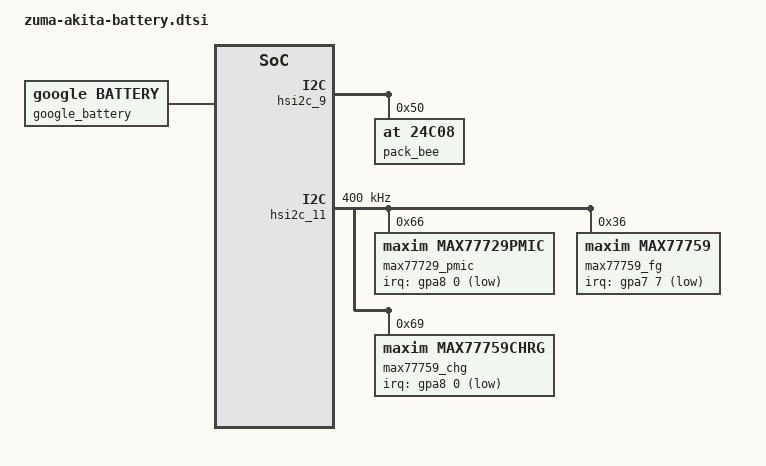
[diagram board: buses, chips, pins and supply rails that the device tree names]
// SPDX-License-Identifier: GPL-2.0-only
/*
 * Battery device tree entries specific to akita
 *
 * Copyright 2022 Google LLC
 *
 */

#include <dt-bindings/interrupt-controller/irq.h>

/ {
	fragment@battery {
		target-path = "/";
		__overlay__ {

			google_battery: google,battery {
				status = "okay";
				compatible = "google,battery";
				google,fg-psy-name = "maxfg";
				google,chg-battery-capacity = <4404>;

				/* charge table */
				google,chg-temp-limits = <0 100 200 420 460 480 550>;
				google,chg-cv-limits = <4200000 4250000 4300000 4350000 4480000>;
				google,chg-cc-limits = <
					 30   10   10   0    0
					 50   30   30  30   30
					100   70   70  50   50
					 80   50   50  50   50
					 50   50   50  50    0
					 30   30    0   0    0
				>;

				google,aact-cv-limits = <4200000 4250000 4300000 4350000 4480000>;
				google,aact-temp-limits = <0 100 200 420 460 480 550>;
				google,chg-aact-ecc = <0 300 1000>;
				google,aact-cc-limits = <
					 30   10   10   0    0
					 50   30   30  30   30
					100   70   70  50   50
					 80   50   50  50   50
					 50   50   50  50    0
					 30   30    0   0    0
					 30   10   10   0    0
					 50   30   30  30   30
					 95   70   70  50   50
					 80   50   50  50   50
					 50   50   50  50    0
					 30   30    0   0    0
					 30   10   10   0    0
					 50   30   30  30   30
					 90   70   70  50   50
					 80   50   50  50   50
					 50   50   50  50    0
					 30   30    0   0    0
				>;

				google,ttf-temp-idx= <2>;
				google,ttf-adapter = <1800>;
				google,ttf-soc-table =  <64 72 85 91  95  100>;
				google,ttf-elap-table = <47 63 81 140 232 90>;
				google,ttf-tier-table = <0 53 70>;

				/* IRDrop Compensation */
				google,fv-uv-resolution = <10000>;
				/* NOTE: high value for DC charging */
				google,fv-uv-margin-dpct = <1025>;
				/* tier switch */
				google,cv-range-accuracy = <20000>;
				google,cv-otv-margin = <12000>;
				google,cv-debounce-cnt = <3>;
				google,cv-tier-ov-cnt = <10>;
				google,cv-tier-switch-cnt = <3>;

				google,eeprom-pairing;

				/* rest charging */
				google,chg-rest-rate = <15>;
				google,chg-rest-soc = <80>;
				/* TRICKLE-DEFEND threshold */
				google,bd-trickle-recharge-soc = <80>;
				/* Disable TRICKLE-DEFEND, b/259428308 */
				/* google,bd-trickle-enable; */
				/* Battery virtual sensor */
				google,batt-vs-tz-name = "batt_vs";

				/* record over temperature time */
				google,temp-record-thr = <300 350 400>;
				google,soc-record-thr = <90 90 95>;

				google,bhi-status-marginal = <79>;
				google,bhi-status-need-rep = <79>;
				google,bhi-cycle-grace = <100>;
				google,bhi-algo-ver = <3>;

				#thermal-sensor-cells = <0>;
				#cooling-cells = <2>;
			};

			google_bms {
				nvmem = <&pack_bee>;
				nvmem-names = "bms-pack-eeprom";
				/* pack eeprom is available only with P20+ batteries */
				google,bee-name = "bms-pack-eeprom";
			};

		};
	};
};

&pinctrl_0 {
/* [MAX77759: FG_INTB] > FG_INT_L > [XEINT_21 : SC59845XWE] */
	if_pmic_fg_irq: if-pmic-fg-irq {
		samsung,pins = "gpa7-7"; /* XEINT_21 */
		samsung,pin-function = <EXYNOS_PIN_FUNC_EINT>;
		samsung,pin-pud = <EXYNOS_PIN_PULL_UP>;
		samsung,pin-drv = <ZUMA_PIN_DRV_X1>;
	};
};

&pinctrl_0 {
/* [MAX77729FEWN : INTB] > IF_PMIC_IRQ_L > [XEINT_22 : SC59845XWE] */
	if_pmic_irq: if-pmic-irq {
		samsung,pins = "gpa8-0";
		samsung,pin-function = <EXYNOS_PIN_FUNC_EINT>;
		samsung,pin-pud = <EXYNOS_PIN_PULL_UP>;
		samsung,pin-drv = <ZUMA_PIN_DRV_X1>;
	};

};

&hsi2c11_bus {
	samsung,pins = "gpp21-0", "gpp21-1";
	samsung,pin-pud = <EXYNOS_PIN_PULL_NONE>;
	samsung,pin-con-pdn = <EXYNOS_PIN_PDN_PREV>;
	samsung,pin-pud-pdn = <EXYNOS_PIN_PULL_NONE>;
};

&hsi2c_9 {
	#address-cells = <1>;
	#size-cells = <0>;
	status = "okay";

	pinctrl-names = "default";
	pinctrl-0 = <&hsi2c9_bus>;

	pack_bee: m24c08@50 {
		status = "okay";
		compatible = "at,24c08";

		reg = <0x50>;
	};
};

&hsi2c_11 {

	#address-cells = <1>;
	#size-cells = <0>;
	status = "okay";
	clock-frequency = <400000>;

	/* also as max77759 pmic  */
	max77729_pmic:max77729pmic@66 {
		status = "okay";
		compatible = "maxim,max77729pmic";
		reg = <0x66>;

		pinctrl-names = "default";
		pinctrl-0 = <&if_pmic_irq>;
		max777x9,irq-gpio = <&gpa8 0 GPIO_ACTIVE_LOW>;

		max77759,max_m5 = <&max77759_fg>;

		max777x9_gpio: max777x9_gpio {
			gpio-controller;
			#gpio-cells = <2>;
			ngpios = <6>;

			interrupt-parent = <&gpa8>;
			interrupt-controller;
			#interrupt-cells = <2>;
			interrupts = <5 IRQ_TYPE_NONE>,
				     <6 IRQ_TYPE_NONE>;
		};
	};

	max77759_fg:max77759fg@36 {
		status = "okay";
		compatible = "maxim,max77759";
		reg = <0x36>;

		/* FG_INT_L -> XEINT_21 */
		pinctrl-names = "default";
		pinctrl-0 = <&if_pmic_fg_irq>;
		maxim,irq-gpio = <&gpa7 7 GPIO_ACTIVE_LOW>;

		maxim,gauge-type = <2>;
		maxim,rsense-default = <500>;
		maxim,batt-id-range-pct = <0>;

		maxim,psy-type-unknown;
		maxim,fg-data {
			#include "zuma/gs101-fake-battery-data.dtsi"
		};
	};

	max77759_chg:max77759chrg@69 {
		status = "okay";
		compatible = "maxim,max77759chrg";
		reg = <0x69>;

		interrupt-parent = <&gpa8>;
		max77759,irq-gpio = <&gpa8 0 GPIO_ACTIVE_LOW>;

		max77759,max_m5 = <&max77759_fg>;
		max77759,pmic = <&max77729_pmic>;

		max77759,chg-term-voltage = <4400>;

		#thermal-sensor-cells = <1>;

		max77759_gpio: max77759_gpio {
			gpio-controller;
			#gpio-cells = <2>;
			ngpios = <1>;
		};

	};

};

&max77759_fg {
	maxim,rc-enable;
	maxim,rc-soc = <20>;
	maxim,rc-temp = <50>;

	maxim,filtercfg-temp = <100>;
	maxim,filtercfg-temp-hysteresis = <30>;
	maxim,filtercfg-default = /bits/ 16 <0xc613>;
	maxim,filtercfg-adjust = /bits/ 16 <0xc616>;

	maxim,fg-data {
		#include "zuma-akita-battery-data.dtsi"
	};
};

&google_battery {
	/* 90% after 600 cycles, 80% after 1000 cycles */
	google,aacr-algo = <3>;
	google,aacr-cliff-capacity-rate = <80>;
	google,aacr-cycle-max = <1000>;

	google,batt-id-1-atl {
		google,batt-id = <1>;
		google,aacr-ref-cycles = <400 500 600 1000>;
		google,aacr-ref-fade10 = <  4  12 100  200>;
		google,aafv-ref-cycles = <200 400 600 800 1000 1001>;
		google,aafv-ref-offset = <  0  20  40  60   80  130>;
		google,aacc-chg-temp = <0 550>;
		google,aacc-chg-weights = < /* units: 1/1000 cycles */
			100 100 100 100 100 100 100 100 100 100 /* soc:  1 ~  10, temp_idx: 0 */
			  0   0   0   0   0   0   0   0   0   0 /* soc: 11 ~  20, temp_idx: 0 */
			  0   0   0   0   0   0   0   0   0   0 /* soc: 21 ~  30, temp_idx: 0 */
			  0   0   0   0   0   0   0   0   0   0 /* soc: 31 ~  40, temp_idx: 0 */
			  0   0   0   0   0   0   0   0   0   0 /* soc: 41 ~  50, temp_idx: 0 */
			  0   0   0   0   0   0   0   0   0   0 /* soc: 51 ~  60, temp_idx: 0 */
			  0   0   0   0   0   0   0   0   0   0 /* soc: 61 ~  70, temp_idx: 0 */
			  0   0   0   0   0   0   0   0   0   0 /* soc: 71 ~  80, temp_idx: 0 */
			  0   0   0   0   0   0   0   0   0   0 /* soc: 81 ~  90, temp_idx: 0 */
			  0   0   0   0   0   0   0   0   0   0 /* soc: 91 ~ 100, temp_idx: 0 */
		>;
	};

	google,batt-id-4-lwn {
		google,batt-id = <4>;
		google,aacr-ref-cycles = <100 200 300 400 500 600 1000>;
		google,aacr-ref-fade10 = <  3  15  25  35  43 100  200>;
		google,aafv-ref-cycles = <200 400 600 800 1000 1001>;
		google,aafv-ref-offset = <  0  20  40  60   80  130>;
		google,aacc-chg-temp = <0 550>;
		google,aacc-chg-weights = < /* units: 1/1000 cycles */
			100 100 100 100 100 100 100 100 100 100 /* soc:  1 ~  10, temp_idx: 0 */
			  0   0   0   0   0   0   0   0   0   0 /* soc: 11 ~  20, temp_idx: 0 */
			  0   0   0   0   0   0   0   0   0   0 /* soc: 21 ~  30, temp_idx: 0 */
			  0   0   0   0   0   0   0   0   0   0 /* soc: 31 ~  40, temp_idx: 0 */
			  0   0   0   0   0   0   0   0   0   0 /* soc: 41 ~  50, temp_idx: 0 */
			  0   0   0   0   0   0   0   0   0   0 /* soc: 51 ~  60, temp_idx: 0 */
			  0   0   0   0   0   0   0   0   0   0 /* soc: 61 ~  70, temp_idx: 0 */
			  0   0   0   0   0   0   0   0   0   0 /* soc: 71 ~  80, temp_idx: 0 */
			  0   0   0   0   0   0   0   0   0   0 /* soc: 81 ~  90, temp_idx: 0 */
			  0   0   0   0   0   0   0   0   0   0 /* soc: 91 ~ 100, temp_idx: 0 */
		>;
	};
};
